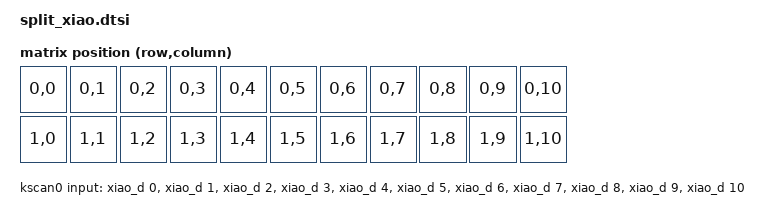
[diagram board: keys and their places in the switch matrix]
#include <dt-bindings/zmk/matrix_transform.h>

#include "split_xiao-layouts.dtsi"

/ {
	chosen {
		zmk,physical-layout = &physical_layout0;
	};
	
	kscan0: kscan0 {
		compatible = "zmk,kscan-gpio-direct";
		input-gpios
		= <&xiao_d 0 (GPIO_ACTIVE_LOW | GPIO_PULL_UP)>
		, <&xiao_d 1 (GPIO_ACTIVE_LOW | GPIO_PULL_UP)>
		, <&xiao_d 2 (GPIO_ACTIVE_LOW | GPIO_PULL_UP)>
		, <&xiao_d 3 (GPIO_ACTIVE_LOW | GPIO_PULL_UP)>
		, <&xiao_d 4 (GPIO_ACTIVE_LOW | GPIO_PULL_UP)>
		, <&xiao_d 5 (GPIO_ACTIVE_LOW | GPIO_PULL_UP)>
		, <&xiao_d 6 (GPIO_ACTIVE_LOW | GPIO_PULL_UP)>
		, <&xiao_d 7 (GPIO_ACTIVE_LOW | GPIO_PULL_UP)>
		, <&xiao_d 8 (GPIO_ACTIVE_LOW | GPIO_PULL_UP)>
		, <&xiao_d 9 (GPIO_ACTIVE_LOW | GPIO_PULL_UP)>
		, <&xiao_d 10 (GPIO_ACTIVE_LOW | GPIO_PULL_UP)>
		;
	};
	
	default_transform: keymap_transform_0 {
		compatible = "zmk,matrix-transform";
		columns = <11>;
		rows = <2>;
		map = <
		RC(0,0)  RC(0,1)  RC(0,2)  RC(0,3)  RC(0,4)  RC(0,5)  RC(0,6)  RC(0,7)  RC(0,8)  RC(0,9)  RC(0,10)
		RC(1,0)  RC(1,1)  RC(1,2)  RC(1,3)  RC(1,4)  RC(1,5)  RC(1,6)  RC(1,7)  RC(1,8)  RC(1,9)  RC(1,10)
		>;
	};
};
